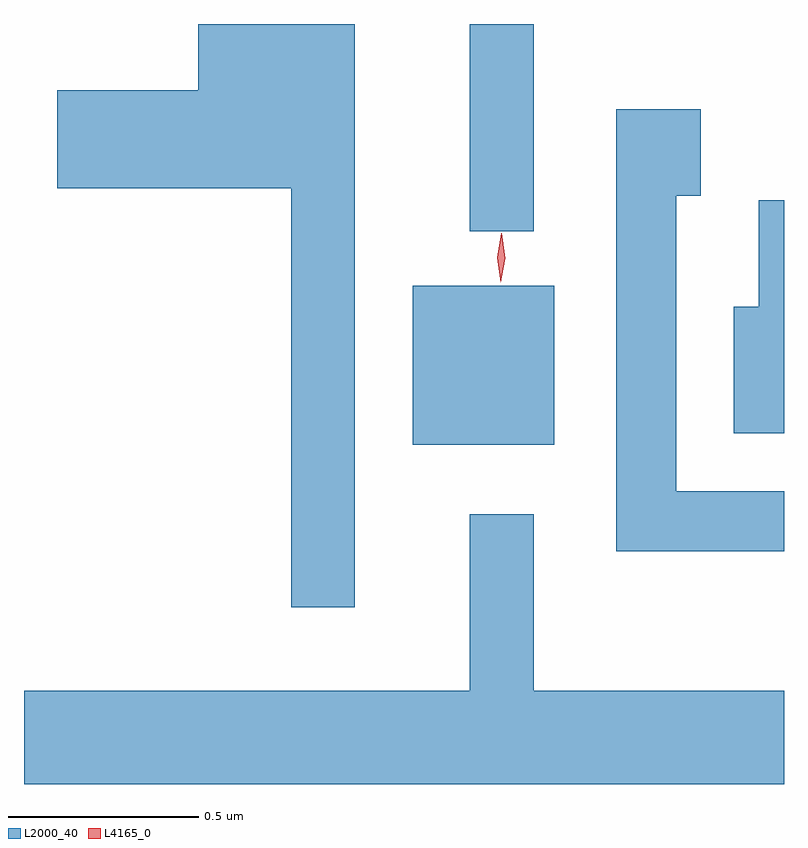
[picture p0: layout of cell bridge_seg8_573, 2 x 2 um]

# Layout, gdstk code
import gdstk
lib = gdstk.Library(unit=1e-6, precision=1e-09)
def R(c, l, rs):  # rectangles x0, y0, x1, y1
    for r in rs: c.add(gdstk.rectangle(r[:2], r[2:], *l))
def P(c, l, *ps):  # polygons
    for p in ps: c.add(gdstk.Polygon(p, *l))
L2000_40 = (2000, 40)
L4165_0 = (4165, 0)

bridge_seg8_573 = lib.new_cell('bridge_seg8_573')
R(bridge_seg8_573, L2000_40, [(592.891,1832.891,593.264,1833.309), (593.041,1833.453,593.209,1833.998)])
P(bridge_seg8_573, L2000_40, [(592.739,1833.998),(592.326,1833.998),(592.326,1833.824),(591.956,1833.824),(591.956,1833.566),(592.571,1833.566),(592.571,1832.463),(592.739,1832.463)],
  [(593.868,1832.769),(593.584,1832.769),(593.584,1833.546),(593.649,1833.546),(593.649,1833.774),(593.426,1833.774),(593.426,1832.611),(593.868,1832.611)],
  [(593.868,1833.534),(593.801,1833.534),(593.801,1833.254),(593.736,1833.254),(593.736,1832.921),(593.868,1832.921)],
  [(591.868,1831.998),(593.868,1831.998),(593.868,1832.244),(593.209,1832.244),(593.209,1832.708),(593.041,1832.708),(593.041,1832.244),(591.868,1832.244)])
P(bridge_seg8_573, L4165_0, [(593.123,1833.318),(593.122,1833.319),(593.114,1833.383),(593.124,1833.447),(593.125,1833.447),(593.125,1833.447),(593.134,1833.382),(593.123,1833.319)])

lib.write_gds('bridge_seg8_573.gds')
